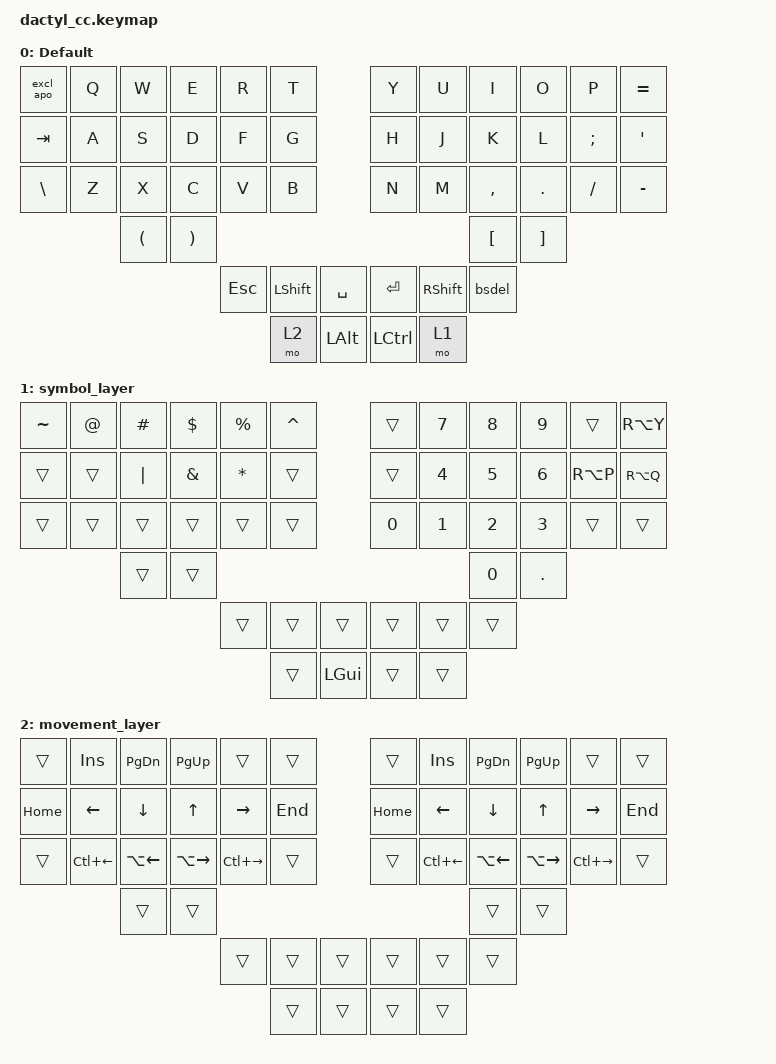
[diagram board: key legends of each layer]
#include <behaviors.dtsi>
#include <dt-bindings/zmk/keys.h>

// Modifiers
&kscan0 {
    debounce-press-ms = <30>;
    debounce-release-ms = <30>;
};

/ {
    behaviors {
        bsdel: backspace_delete {
            compatible = "zmk,behavior-mod-morph";
            #binding-cells = <0>;
            bindings = <&kp BACKSPACE>, <&kp DELETE>;

            mods = <(MOD_LSFT|MOD_RSFT)>;
        };

        excl_apo: excl_apo {
            compatible = "zmk,behavior-mod-morph";
            label = "!`";
            bindings = <&kp EXCLAMATION>, <&kp GRAVE>;

            #binding-cells = <0>;
            mods = <(MOD_LSFT|MOD_RSFT)>;
        };
    };

    macros {
        /**
              * Temporarily switches to a layer (`&mo`) while a modifier is held.
              * Analogous to QMK's `LM()`, using a parameterized macro.
              *
              * Params:
              *  1. Layer to switch to
              *  2. Modifier to press while layer is active
              *
              * Example:
              *  `&lm NUM_LAYER LSHIFT`
              */
    };

    keymap {
        compatible = "zmk,keymap";

        default_layer {
            display-name = "Default";
            bindings = <
&excl_apo      &kp Q  &kp W                 &kp E                  &kp R    &kp T                                    &kp Y            &kp U   &kp I             &kp O              &kp P          &kp EQUAL
&kp TAB        &kp A  &kp S                 &kp D                  &kp F    &kp G                                    &kp H            &kp J   &kp K             &kp L              &kp SEMICOLON  &kp APOSTROPHE
&kp BACKSLASH  &kp Z  &kp X                 &kp C                  &kp V    &kp B                                    &kp N            &kp M   &kp COMMA         &kp DOT            &kp FSLH       &kp MINUS
                      &kp LEFT_PARENTHESIS  &kp RIGHT_PARENTHESIS                                                                             &kp LEFT_BRACKET  &kp RIGHT_BRACKET
                                                                   &kp ESC  &kp LEFT_SHIFT  &kp SPACE     &kp RET    &kp RIGHT_SHIFT  &bsdel
                                                                            &mo 2           &kp LEFT_ALT  &kp LCTRL  &mo 1
            >;
        };

        symbol_layer {
            bindings = <
&kp TILDE  &kp AT_SIGN  &kp HASH  &kp DOLLAR     &kp PERCENT   &kp CARET                        &trans  &kp N7  &kp N8  &kp N9      &trans     &kp RA(Y)
&trans     &trans       &kp PIPE  &kp AMPERSAND  &kp ASTERISK  &trans                           &trans  &kp N4  &kp N5  &kp N6      &kp RA(P)  &kp RA(Q)
&trans     &trans       &trans    &trans         &trans        &trans                           &kp N0  &kp N1  &kp N2  &kp N3      &trans     &trans
                        &trans    &trans                                                                        &kp N0  &kp PERIOD
                                                 &trans        &trans     &trans        &trans  &trans  &trans
                                                               &trans     &kp LEFT_GUI  &trans  &trans
            >;
        };

        movement_layer {
            bindings = <
&trans    &kp INSERT      &kp PG_DN       &kp PG_UP      &trans         &trans                   &trans    &kp INSERT          &kp PG_DN       &kp PG_UP      &trans               &trans
&kp HOME  &kp LEFT_ARROW  &kp DOWN_ARROW  &kp UP         &kp RIGHT      &kp END                  &kp HOME  &kp LEFT_ARROW      &kp DOWN_ARROW  &kp UP_ARROW   &kp RIGHT_ARROW      &kp END
&trans    &kp LC(LEFT)    &kp LA(LEFT)    &kp LA(RIGHT)  &kp LC(RIGHT)  &trans                   &trans    &kp LC(LEFT_ARROW)  &kp LA(LEFT)    &kp LA(RIGHT)  &kp LC(RIGHT_ARROW)  &trans
                          &trans          &trans                                                                               &trans          &trans
                                                         &trans         &trans   &trans  &trans  &trans    &trans
                                                                        &trans   &trans  &trans  &trans
            >;
        };
    };
};
